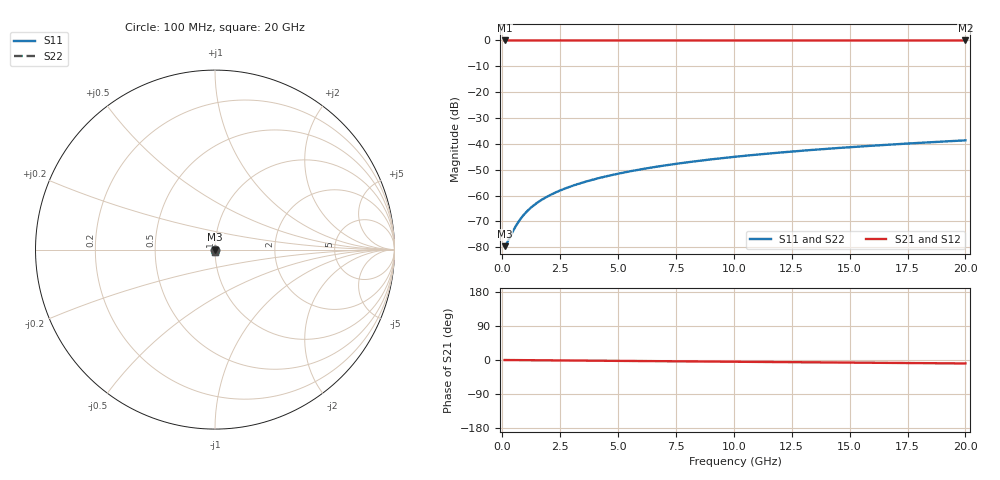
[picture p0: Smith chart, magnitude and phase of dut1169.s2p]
! Touchstone file exported from HFSS 2026.1.0
!  File:  C:/ffzhzh/LocalFiles/Ansys_Project_Files/temp_train_TSV_1169_1783191965_51560.aedt
!  Generated:  03:07:31 AM Jul  5, 2026
!  Design:  TSV
!  Project:  temp_train_TSV_1169_1783191965_51560
! Variables:
!  h_bsmrdl = 2um
!  h_ox = 20um
!  h_rdl = 5um
!  h_sub = 93.06um
!  h_tmrdl = 5um
!  h_tsv = 93.06um
!  h_via = 3um
!  l_bsmrdl = 300um
!  l_sub = 424.8um
!  l_tmrdl = 200um
!  m_sub = 200um
!  pitch = 46.37um
!  r_tsv = 12.4um
!  s_tmrdl = 10um
!  w_bsmrdl = 18um
!  w_sub = 500um
!  w_tmrdl = 12um
!  x_tsv_center1 = 206um
!  x_tsv_center2 = 524um
!  x_tsv_center3 = 736um
!  x_tsv_center4 = 1054um
!  x_tsv_center5 = 1266um
!  x_tsv_center6 = 1584um
# GHz S MA R 50.000000
! Terminal data exported
! Port[1] = TSV1_1_T1
! Port[2] = TSV1_1_T2
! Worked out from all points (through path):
!   200 points, 100 MHz to 20 GHz, reference 50 ohm
!   highest |S21| = 0.00 dB at 100 MHz (marker M1); lowest = 0.0 dB at 20 GHz (marker M2)
!   group delay of S21, straight-line fit = 1.27 ps
!   lowest |S11| = -79.6 dB at 100 MHz (marker M3), VSWR 1.00, Z = 50 - j0.001 ohm
!   |S11| at or under -10 dB: start of sweep to end of sweep
!   |S22| runs from -79.6 to -38.6 dB; largest |S21 - S12| = 4.3e-15
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0.1  0.000105 -5.5  0.9999 -0.0  0.9999 -0.0  0.000105 -5.5
! Gamma 0 0 0 0
! Port Impedance 50 0 50 0
0.2  0.0001216 -11.3  0.9999 -0.1  0.9999 -0.1  0.0001216 -11.3
0.5  0.0002211 -28.9  0.9998 -0.2  0.9998 -0.2  0.0002211 -28.9
0.7  0.0003115 -38.5  0.9998 -0.3  0.9998 -0.3  0.0003115 -38.5
0.8  0.0003602 -42.5  0.9997 -0.4  0.9997 -0.4  0.0003602 -42.5
1  0.0004612 -49.0  0.9997 -0.5  0.9997 -0.5  0.0004612 -49.0
1.3  0.000617 -56.2  0.9996 -0.6  0.9996 -0.6  0.000617 -56.2
1.5  0.0007221 -59.7  0.9996 -0.7  0.9996 -0.7  0.0007221 -59.7
1.7  0.0008278 -62.6  0.9996 -0.8  0.9996 -0.8  0.0008278 -62.6
2.2  0.001094 -67.7  0.9996 -1.0  0.9996 -1.0  0.001094 -67.7
2.8  0.001418 -71.6  0.9995 -1.3  0.9995 -1.3  0.001418 -71.6
3.5  0.001801 -74.5  0.9995 -1.6  0.9995 -1.6  0.001801 -74.5
4.2  0.002193 -76.6  0.9994 -1.9  0.9994 -1.9  0.002193 -76.6
5  0.002647 -78.5  0.9994 -2.3  0.9994 -2.3  0.002648 -78.5
5.9  0.003167 -80.1  0.9993 -2.7  0.9993 -2.7  0.003167 -80.1
6.8  0.003694 -81.5  0.9992 -3.1  0.9992 -3.1  0.003694 -81.5
8.3  0.004581 -83.5  0.9992 -3.8  0.9992 -3.8  0.004581 -83.5
10.1  0.005656 -85.4  0.9991 -4.6  0.9991 -4.6  0.005656 -85.4
11.7  0.006617 -86.9  0.999 -5.4  0.999 -5.4  0.006617 -86.9
13.4  0.007644 -88.3  0.9989 -6.1  0.9989 -6.1  0.007644 -88.3
16.7  0.009651 -90.7  0.9988 -7.6  0.9988 -7.6  0.009651 -90.7
20  0.01168 -92.8  0.9986 -9.1  0.9986 -9.1  0.01168 -92.8
